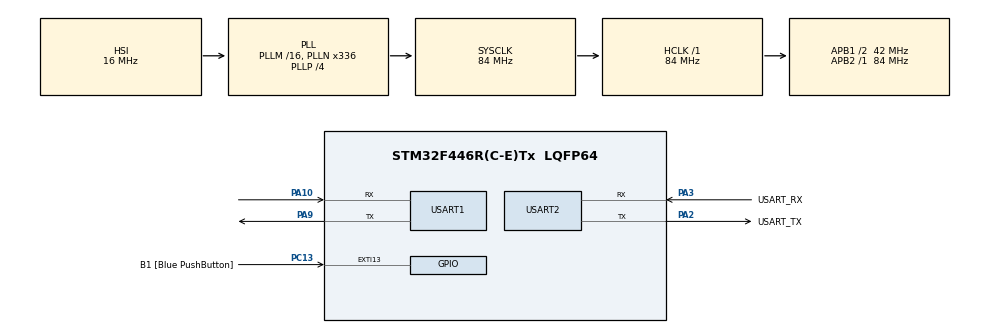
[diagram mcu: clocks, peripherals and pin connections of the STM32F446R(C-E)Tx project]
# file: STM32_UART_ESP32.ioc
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Mcu.Family=STM32F4
Mcu.Name=STM32F446R(C-E)Tx
Mcu.Package=LQFP64
NVIC.PriorityGroup=NVIC_PRIORITYGROUP_0
NVIC.USART2_IRQn=true\:0\:0\:false\:false\:true\:true\:true\:true
PA10.Mode=Asynchronous
PA10.Signal=USART1_RX
PA13.GPIO_Label=TMS
PA13.Mode=Serial_Wire
PA13.Signal=SYS_JTMS-SWDIO
PA14.GPIO_Label=TCK
PA14.Mode=Serial_Wire
PA14.Signal=SYS_JTCK-SWCLK
PA2.GPIO_Label=USART_TX
PA2.Mode=Asynchronous
PA2.Signal=USART2_TX
PA3.GPIO_Label=USART_RX
PA3.Mode=Asynchronous
PA3.Signal=USART2_RX
PA9.Mode=Asynchronous
PA9.Signal=USART1_TX
PB3.GPIO_Label=SWO
PB3.Signal=SYS_JTDO-SWO
PC13.GPIO_Label=B1 [Blue PushButton]
PC13.GPIO_ModeDefaultEXTI=GPIO_MODE_IT_FALLING
PC13.Signal=GPXTI13
PC14-OSC32_IN.Mode=LSE-External-Oscillator
PC14-OSC32_IN.Signal=RCC_OSC32_IN
PC15-OSC32_OUT.Mode=LSE-External-Oscillator
PC15-OSC32_OUT.Signal=RCC_OSC32_OUT
PH0-OSC_IN.Mode=HSE-External-Oscillator
PH0-OSC_IN.Signal=RCC_OSC_IN
PH1-OSC_OUT.Mode=HSE-External-Oscillator
PH1-OSC_OUT.Signal=RCC_OSC_OUT
ProjectManager.HeapSize=0x200
ProjectManager.StackSize=0x400
ProjectManager.TargetToolchain=STM32CubeIDE
RCC.48MHZClocksFreq_Value=84000000
RCC.AHBFreq_Value=84000000
RCC.APB1CLKDivider=RCC_HCLK_DIV2
RCC.APB1Freq_Value=42000000
RCC.APB1TimFreq_Value=84000000
RCC.APB2Freq_Value=84000000
RCC.APB2TimFreq_Value=84000000
RCC.CortexFreq_Value=84000000
RCC.FLatency-AdvancedSettings=FLASH_LATENCY_2
RCC.HCLKFreq_Value=84000000
RCC.HSE_VALUE=8000000
RCC.HSI_VALUE=16000000
RCC.PLLN=336
RCC.PLLP=RCC_PLLP_DIV4
RCC.SYSCLKFreq_VALUE=84000000
RCC.SYSCLKSource=RCC_SYSCLKSOURCE_PLLCLK
RCC.USBFreq_Value=168000000
RCC.VCOOutputFreq_Value=336000000
USART1.VirtualMode=VM_ASYNC
USART2.VirtualMode=VM_ASYNC
board=NUCLEO-F446RE

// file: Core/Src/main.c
/* USER CODE BEGIN Header */
/**
  ******************************************************************************
  * @file           : main.c
  * @brief          : Main program body
  ******************************************************************************
  * @attention
  *
  * Copyright (c) 2025 STMicroelectronics.
  * All rights reserved.
  *
  * This software is licensed under terms that can be found in the LICENSE file
  * in the root directory of this software component.
  * If no LICENSE file comes with this software, it is provided AS-IS.
  *
  ******************************************************************************
  */
/* USER CODE END Header */
#include "main.h"

/* USER CODE BEGIN Includes */
#include <string.h>

/* USER CODE END Includes */

/* USER CODE BEGIN PD */
#define BUF_SIZE 40
#define TIMEOUT_MS 1000

/* USER CODE END PD */

UART_HandleTypeDef huart1;
UART_HandleTypeDef huart2;

/* USER CODE BEGIN PV */

const uint8_t TX_START[] = "*** Program Start ***\n\r";
const uint8_t TX_DATA[] = "Message from STM32";
const uint8_t TX_READY[] = "READY?";

const char TX_SEND_READY[] = "Send READY to ESP32...\n\r";
const char TX_SEND_DATA[] = "Send Message to ESP32...\n\r";

const uint8_t TX_OK_TIMEOUT[] = "Timeout waiting for OK.\n\r";
const uint8_t TX_ACK_TIMEOUT[] = "Timeout waiting for ACK.\n\r";
const uint8_t TX_OK_RECEIVED[] = "OK received from ESP32...\n\r";
const uint8_t TX_ACK_RECEIVED[] = "ACK received from ESP32...\n\r";
const uint8_t TX_UNKNOWN_RECEIVED[] = "Unknown response received...\n\r";
const uint8_t TX_COMPLETE[] = "Transmission complete\n\n\r";

static uint8_t rx_buffer[BUF_SIZE];
static uint16_t rx_len = 0;

/* USER CODE END PV */

void SystemClock_Config(void);
static void MX_GPIO_Init(void);
static void MX_USART2_UART_Init(void);
static void MX_USART1_UART_Init(void);

/* USER CODE BEGIN 0 */

static void uart_transmit(UART_HandleTypeDef *huart, const uint8_t *message, size_t length) {
    HAL_UART_Transmit(huart, (uint8_t *)message, length, HAL_MAX_DELAY);
}

static HAL_StatusTypeDef uart_receive_response(const char *expected_response, size_t response_len) {
    HAL_StatusTypeDef status = HAL_UARTEx_ReceiveToIdle(&huart1, rx_buffer, BUF_SIZE, &rx_len, TIMEOUT_MS);

    if (status == HAL_OK && strncmp((char *)rx_buffer, expected_response, response_len) == 0) {
        return HAL_OK;
    }

    return status;
}

void send_to_esp32() {
  // Send READY message
  uart_transmit(&huart2, (uint8_t *)TX_SEND_READY, strlen(TX_SEND_READY));
  uart_transmit(&huart1, TX_READY, sizeof(TX_READY) - 1);

  // Wait for "OK" from ESP32
  if (uart_receive_response("OK", 2) == HAL_OK) {
    uart_transmit(&huart2, TX_OK_RECEIVED, sizeof(TX_OK_RECEIVED));

    // Send data message
    uart_transmit(&huart2, (uint8_t *)TX_SEND_DATA, strlen(TX_SEND_DATA));
    uart_transmit(&huart1, TX_DATA, sizeof(TX_DATA) - 1);

    // Wait for "ACK" from ESP32
    if (uart_receive_response("ACK", 3) == HAL_OK) {
      uart_transmit(&huart2, TX_ACK_RECEIVED, sizeof(TX_ACK_RECEIVED));
      uart_transmit(&huart2, TX_COMPLETE, sizeof(TX_COMPLETE));
    } else {
      uart_transmit(&huart2, TX_ACK_TIMEOUT, sizeof(TX_ACK_TIMEOUT));
    }
  } else {
    uart_transmit(&huart2, TX_OK_TIMEOUT, sizeof(TX_OK_TIMEOUT));
  }
}

/* USER CODE END 0 */

int main(void)
{

  /* MCU Configuration--------------------------------------------------------*/

  /* Reset of all peripherals, Initializes the Flash interface and the Systick. */
  HAL_Init();

  /* Configure the system clock */
  SystemClock_Config();

  /* Initialize all configured peripherals */
  MX_GPIO_Init();
  MX_USART2_UART_Init();
  MX_USART1_UART_Init();

  /* USER CODE BEGIN 2 */
  HAL_UART_Transmit(&huart2, TX_START, sizeof(TX_START), HAL_MAX_DELAY);

  /* USER CODE END 2 */

  /* Infinite loop */
  /* USER CODE BEGIN WHILE */
  while (1)
  {
  send_to_esp32();

    /* USER CODE END WHILE */

    /* USER CODE BEGIN 3 */
  HAL_Delay(3000);
  }
  /* USER CODE END 3 */
}

void SystemClock_Config(void)
{
  RCC_OscInitTypeDef RCC_OscInitStruct = {0};
  RCC_ClkInitTypeDef RCC_ClkInitStruct = {0};

  /** Configure the main internal regulator output voltage
  */
  __HAL_RCC_PWR_CLK_ENABLE();
  __HAL_PWR_VOLTAGESCALING_CONFIG(PWR_REGULATOR_VOLTAGE_SCALE3);

  /** Initializes the RCC Oscillators according to the specified parameters
  * in the RCC_OscInitTypeDef structure.
  */
  RCC_OscInitStruct.OscillatorType = RCC_OSCILLATORTYPE_HSI;
  RCC_OscInitStruct.HSIState = RCC_HSI_ON;
  RCC_OscInitStruct.HSICalibrationValue = RCC_HSICALIBRATION_DEFAULT;
  RCC_OscInitStruct.PLL.PLLState = RCC_PLL_ON;
  RCC_OscInitStruct.PLL.PLLSource = RCC_PLLSOURCE_HSI;
  RCC_OscInitStruct.PLL.PLLM = 16;
  RCC_OscInitStruct.PLL.PLLN = 336;
  RCC_OscInitStruct.PLL.PLLP = RCC_PLLP_DIV4;
  RCC_OscInitStruct.PLL.PLLQ = 2;
  RCC_OscInitStruct.PLL.PLLR = 2;
  if (HAL_RCC_OscConfig(&RCC_OscInitStruct) != HAL_OK)
  {
    Error_Handler();
  }

  /** Initializes the CPU, AHB and APB buses clocks
  */
  RCC_ClkInitStruct.ClockType = RCC_CLOCKTYPE_HCLK|RCC_CLOCKTYPE_SYSCLK
                              |RCC_CLOCKTYPE_PCLK1|RCC_CLOCKTYPE_PCLK2;
  RCC_ClkInitStruct.SYSCLKSource = RCC_SYSCLKSOURCE_PLLCLK;
  RCC_ClkInitStruct.AHBCLKDivider = RCC_SYSCLK_DIV1;
  RCC_ClkInitStruct.APB1CLKDivider = RCC_HCLK_DIV2;
  RCC_ClkInitStruct.APB2CLKDivider = RCC_HCLK_DIV1;

  if (HAL_RCC_ClockConfig(&RCC_ClkInitStruct, FLASH_LATENCY_2) != HAL_OK)
  {
    Error_Handler();
  }
}

static void MX_USART1_UART_Init(void)
{

  huart1.Instance = USART1;
  huart1.Init.BaudRate = 115200;
  huart1.Init.WordLength = UART_WORDLENGTH_8B;
  huart1.Init.StopBits = UART_STOPBITS_1;
  huart1.Init.Parity = UART_PARITY_NONE;
  huart1.Init.Mode = UART_MODE_TX_RX;
  huart1.Init.HwFlowCtl = UART_HWCONTROL_NONE;
  huart1.Init.OverSampling = UART_OVERSAMPLING_16;
  if (HAL_UART_Init(&huart1) != HAL_OK)
  {
    Error_Handler();
  }

}

static void MX_USART2_UART_Init(void)
{

  huart2.Instance = USART2;
  huart2.Init.BaudRate = 115200;
  huart2.Init.WordLength = UART_WORDLENGTH_8B;
  huart2.Init.StopBits = UART_STOPBITS_1;
  huart2.Init.Parity = UART_PARITY_NONE;
  huart2.Init.Mode = UART_MODE_TX_RX;
  huart2.Init.HwFlowCtl = UART_HWCONTROL_NONE;
  huart2.Init.OverSampling = UART_OVERSAMPLING_16;
  if (HAL_UART_Init(&huart2) != HAL_OK)
  {
    Error_Handler();
  }

}

static void MX_GPIO_Init(void)
{
  GPIO_InitTypeDef GPIO_InitStruct = {0};

  /* GPIO Ports Clock Enable */
  __HAL_RCC_GPIOC_CLK_ENABLE();
  __HAL_RCC_GPIOH_CLK_ENABLE();
  __HAL_RCC_GPIOA_CLK_ENABLE();
  __HAL_RCC_GPIOB_CLK_ENABLE();

  /*Configure GPIO pin : B1_Pin */
  GPIO_InitStruct.Pin = B1_Pin;
  GPIO_InitStruct.Mode = GPIO_MODE_IT_FALLING;
  GPIO_InitStruct.Pull = GPIO_NOPULL;
  HAL_GPIO_Init(B1_GPIO_Port, &GPIO_InitStruct);

}

void Error_Handler(void)
{
  __disable_irq();
  while (1)
  {
  }
}
